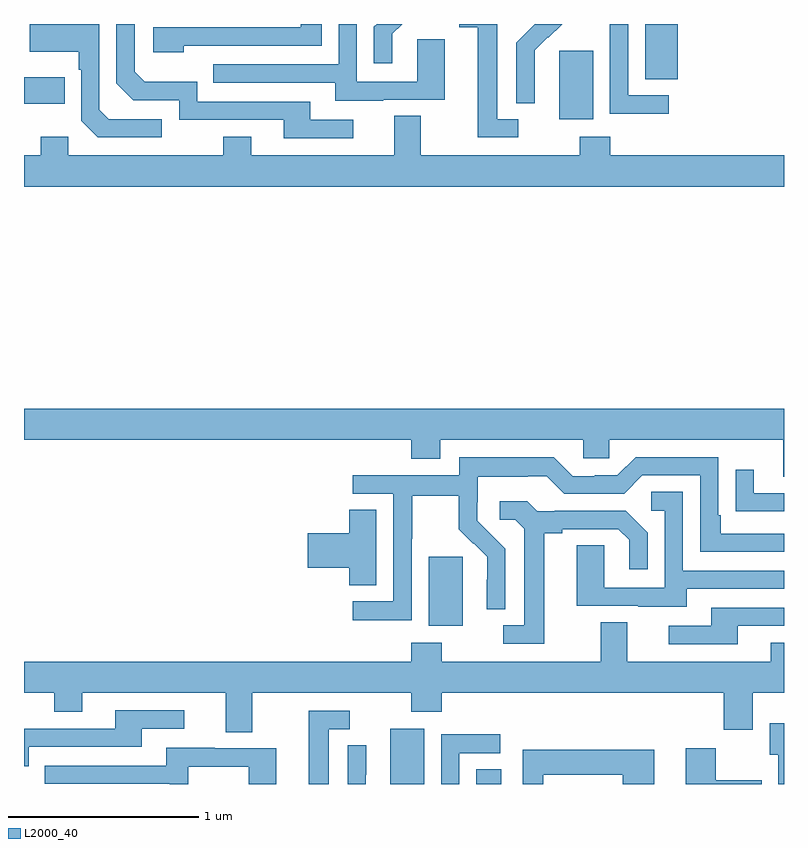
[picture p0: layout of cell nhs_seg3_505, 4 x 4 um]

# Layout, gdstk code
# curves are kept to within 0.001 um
import gdstk
lib = gdstk.Library(unit=1e-6, precision=1e-09)
def R(c, l, rs):  # rectangles x0, y0, x1, y1
    for r in rs: c.add(gdstk.rectangle(r[:2], r[2:], *l))
def P(c, l, *ps):  # polygons
    for p in ps: c.add(gdstk.Polygon(p, *l))
L2000_40 = (2000, 40)

nhs_seg3_505 = lib.new_cell('nhs_seg3_505')
R(nhs_seg3_505, L2000_40, [(136.928,736.4,137.107,736.69), (137.381,736.4,137.512,736.478), (137.129,737.234,137.308,737.595), (137.816,739.898,137.995,740.259), (135,739.979,135.215,740.119), (138.269,740.11,138.44,740.4)])
P(nhs_seg3_505, L2000_40, [(138.394,740.025),(138.18,740.025),(138.18,740.4),(138.082,740.4),(138.082,740.356),(138.084,740.356),(138.084,739.927),(138.394,739.927)],
  [(137.602,739.899),(137.491,739.899),(137.491,740.4),(137.291,740.4),(137.291,740.384),(137.387,740.384),(137.387,739.803),(137.602,739.803)],
  [(136.939,740.349),(136.99,740.4),(136.856,740.4),(136.842,740.386),(136.842,740.193),(136.939,740.193)],
  [(136.732,739.896),(136.507,739.896),(136.507,739.992),(135.912,739.992),(135.912,740.095),(135.635,740.095),(135.582,740.148),(135.582,740.4),(135.486,740.4),(135.486,740.088),(135.576,739.998),(135.816,739.998),(135.816,739.896),(136.367,739.896),(136.367,739.8),(136.732,739.8)],
  [(136.891,740.001),(137.215,740.001),(137.215,740.321),(137.07,740.321),(137.07,740.097),(136.752,740.097),(136.752,740.4),(136.656,740.4),(136.656,740.187),(135.997,740.187),(135.997,740.091),(136.637,740.091),(136.637,739.997),(136.891,739.997)],
  [(137.688,740.138),(137.687,740.138),(137.687,740.261),(137.757,740.331),(137.76,740.328),(137.832,740.4),(137.688,740.4),(137.664,740.376),(137.665,740.375),(137.592,740.302),(137.592,739.984),(137.688,739.984)],
  [(135.842,740.286),(136.566,740.286),(136.566,740.4),(136.457,740.4),(136.457,740.382),(135.681,740.382),(135.681,740.252),(135.842,740.252)],
  [(135.724,739.899),(135.447,739.899),(135.396,739.95),(135.396,740.4),(135.031,740.4),(135.031,740.255),(135.288,740.255),(135.288,740.159),(135.3,740.159),(135.3,739.89),(135.387,739.803),(135.724,739.803)],
  [(139,739.708),(138.086,739.708),(138.086,739.807),(137.926,739.807),(137.926,739.708),(137.089,739.708),(137.089,739.916),(136.949,739.916),(136.949,739.708),(136.195,739.708),(136.195,739.807),(136.048,739.807),(136.048,739.708),(135.234,739.708),(135.234,739.807),(135.088,739.807),(135.088,739.708),(135,739.708),(135,739.544),(139,739.544)],
  [(139,738.376),(135,738.376),(135,738.212),(137.039,738.212),(137.039,738.113),(137.191,738.113),(137.191,738.212),(137.943,738.212),(137.943,738.114),(138.081,738.114),(138.081,738.212),(138.995,738.212),(138.995,738.018),(139,738.018)],
  [(137.04,737.692),(137.043,737.692),(137.043,737.916),(137.287,737.916),(137.287,737.741),(137.364,737.664),(137.367,737.667),(137.438,737.597),(137.438,737.474),(137.436,737.474),(137.436,737.32),(137.532,737.32),(137.532,737.638),(137.386,737.786),(137.386,737.883),(137.388,737.883),(137.388,738.017),(137.651,738.017),(137.651,738.021),(137.751,738.021),(137.844,737.928),(138.159,737.928),(138.255,738.024),(138.558,738.024),(138.558,737.622),(139,737.622),(139,737.718),(138.667,737.718),(138.667,737.815),(138.654,737.815),(138.654,738.12),(138.219,738.12),(138.123,738.024),(138.005,738.024),(138.005,738.021),(137.889,738.021),(137.789,738.121),(137.292,738.121),(137.292,738.024),(136.731,738.024),(136.731,737.928),(136.944,737.928),(136.944,737.361),(136.731,737.361),(136.731,737.263),(137.04,737.263)],
  [(139,737.931),(138.841,737.931),(138.841,738.055),(138.745,738.055),(138.745,737.836),(138.847,737.836),(138.847,737.835),(139,737.835)],
  [(138.487,737.427),(139,737.427),(139,737.523),(138.468,737.523),(138.468,737.939),(138.3,737.939),(138.3,737.838),(138.372,737.838),(138.372,737.433),(138.054,737.433),(138.054,737.657),(137.909,737.657),(137.909,737.337),(138.233,737.337),(138.233,737.333),(138.487,737.333)],
  [(137.737,737.72),(137.833,737.72),(137.833,737.742),(138.128,737.742),(138.185,737.685),(138.185,737.529),(138.282,737.529),(138.282,737.722),(138.166,737.838),(137.794,737.838),(137.794,737.835),(137.7,737.835),(137.648,737.887),(137.505,737.887),(137.505,737.79),(137.586,737.79),(137.633,737.743),(137.633,737.235),(137.523,737.235),(137.523,737.139),(137.737,737.139)],
  [(136.855,737.843),(136.712,737.843),(136.712,737.72),(136.494,737.72),(136.494,737.537),(136.712,737.537),(136.712,737.446),(136.855,737.446)],
  [(138.757,737.232),(139,737.232),(139,737.328),(138.617,737.328),(138.617,737.232),(138.393,737.232),(138.393,737.136),(138.757,737.136)],
  [(136.201,736.88),(137.038,736.88),(137.038,736.781),(137.198,736.781),(137.198,736.88),(138.683,736.88),(138.683,736.686),(138.835,736.686),(138.835,736.88),(139,736.88),(139,737.143),(138.929,737.143),(138.929,737.044),(138.175,737.044),(138.175,737.252),(138.035,737.252),(138.035,737.044),(137.199,737.044),(137.199,737.143),(137.039,737.143),(137.039,737.044),(135,737.044),(135,736.88),(135.16,736.88),(135.16,736.781),(135.307,736.781),(135.307,736.88),(136.061,736.88),(136.061,736.672),(136.201,736.672)],
  [(135.024,736.596),(135.619,736.596),(135.619,736.692),(135.844,736.692),(135.844,736.788),(135.479,736.788),(135.479,736.692),(135,736.692),(135,736.493),(135.024,736.493)],
  [(136.603,736.689),(136.714,736.689),(136.714,736.785),(136.499,736.785),(136.499,736.4),(136.603,736.4)],
  [(139,736.72),(138.926,736.72),(138.926,736.554),(138.971,736.554),(138.971,736.4),(139,736.4)],
  [(137.292,736.563),(137.506,736.563),(137.506,736.662),(137.196,736.662),(137.196,736.4),(137.292,736.4)],
  [(136.799,736.45),(136.8,736.45),(136.8,736.604),(136.704,736.604),(136.704,736.4),(136.799,736.4)],
  [(135.864,736.491),(136.182,736.491),(136.182,736.4),(136.327,736.4),(136.327,736.587),(136.003,736.587),(136.003,736.591),(135.749,736.591),(135.749,736.497),(135.109,736.497),(135.109,736.401),(135.768,736.401),(135.768,736.4),(135.864,736.4)],
  [(138.883,736.42),(138.64,736.42),(138.64,736.588),(138.482,736.588),(138.482,736.4),(138.883,736.4)],
  [(137.734,736.45),(138.151,736.45),(138.151,736.4),(138.316,736.4),(138.316,736.579),(137.625,736.579),(137.625,736.4),(137.734,736.4)])

lib.write_gds('nhs_seg3_505.gds')
